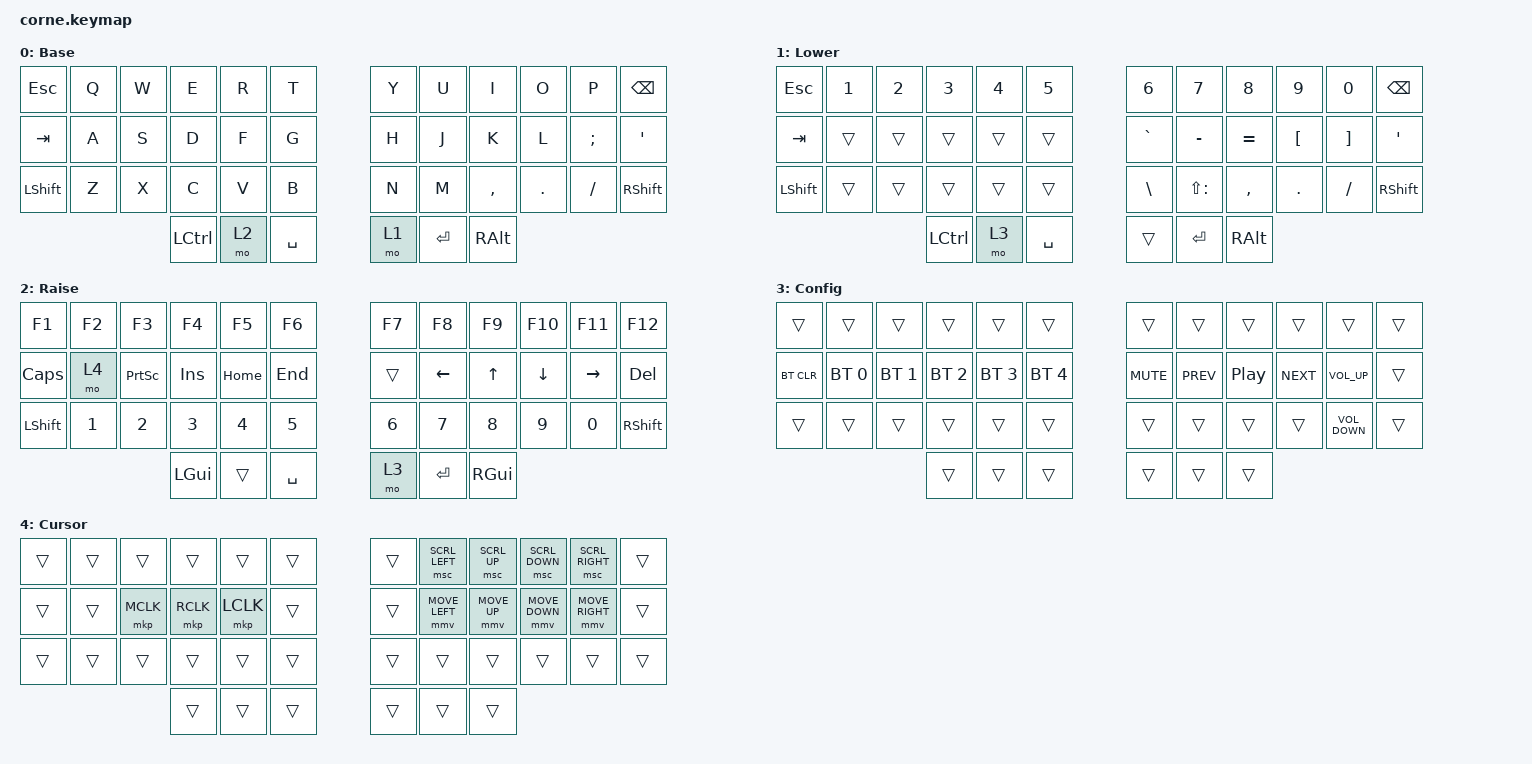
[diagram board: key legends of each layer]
/*
 * Copyright (c) 2020 The ZMK Contributors
 *
 * SPDX-License-Identifier: MIT
 */

#include <behaviors.dtsi>
#include <dt-bindings/zmk/bt.h>
#include <dt-bindings/zmk/keys.h>
#include <dt-bindings/zmk/pointing.h>
#include <dt-bindings/zmk/pointing.h>
#include <dt-bindings/zmk/pointing.h>

/ {
    keymap {
        compatible = "zmk,keymap";

        default_layer {
            // -----------------------------------------------------------------------------------------
            // |  TAB |  Q  |  W  |  E  |  R  |  T  |   |  Y  |  U   |  I  |  O  |  P  | BKSP |
            // | CTRL |  A  |  S  |  D  |  F  |  G  |   |  H  |  J   |  K  |  L  |  ;  |  '   |
            // | SHFT |  Z  |  X  |  C  |  V  |  B  |   |  N  |  M   |  ,  |  .  |  /  | ESC  |
            //                    | GUI | LWR | SPC |   | ENT | RSE  | ALT |

            display-name = "Base";
            bindings = <
&kp ESC    &kp Q  &kp W  &kp E      &kp R  &kp T        &kp Y  &kp U      &kp I      &kp O    &kp P     &kp BSPC
&kp TAB    &kp A  &kp S  &kp D      &kp F  &kp G        &kp H  &kp J      &kp K      &kp L    &kp SEMI  &kp SQT
&kp LSHFT  &kp Z  &kp X  &kp C      &kp V  &kp B        &kp N  &kp M      &kp COMMA  &kp DOT  &kp FSLH  &kp RIGHT_SHIFT
                         &kp LCTRL  &mo 2  &kp SPACE    &mo 1  &kp ENTER  &kp RALT
            >;

            label = "Default";
        };

        lower_layer {
            // -----------------------------------------------------------------------------------------
            // |  TAB |  1  |  2  |  3  |  4  |  5  |   |  6  |  7  |  8  |  9  |  0  | BKSP |
            // | BTCLR| BT1 | BT2 | BT3 | BT4 | BT5 |   | LFT | DWN |  UP | RGT |     |      |
            // | SHFT |     |     |     |     |     |   |     |     |     |     |     |      |
            //                    | GUI |     | SPC |   | ENT |     | ALT |

            display-name = "Lower";
            bindings = <
&kp ESC    &kp N1  &kp N2  &kp N3     &kp N4  &kp N5       &kp N6     &kp N7         &kp N8     &kp N9    &kp N0    &kp BSPC
&kp TAB    &trans  &trans  &trans     &trans  &trans       &kp GRAVE  &kp MINUS      &kp EQUAL  &kp LBKT  &kp RBKT  &kp SQT
&kp LSHFT  &trans  &trans  &trans     &trans  &trans       &kp BSLH   &kp LS(COLON)  &kp COMMA  &kp DOT   &kp FSLH  &kp RSHFT
                           &kp LCTRL  &mo 3   &kp SPACE    &trans     &kp ENTER      &kp RALT
            >;
        };

        raise_layer {
            // -----------------------------------------------------------------------------------------
            // |  TAB |  !  |  @  |  #  |  $  |  %  |   |  ^  |  &  |  *  |  (  |  )  | BKSP |
            // | CTRL |     |     |     |     |     |   |  -  |  =  |  [  |  ]  |  \  |  `   |
            // | SHFT |     |     |     |     |     |   |  _  |  +  |  {  |  }  | "|" |  ~   |
            //                    | GUI |     | SPC |   | ENT |     | ALT |

            display-name = "Raise";
            bindings = <
&kp F1        &kp F2  &kp F3           &kp F4    &kp F5    &kp F6       &kp F7  &kp F8     &kp F9    &kp F10   &kp F11    &kp F12
&kp CAPSLOCK  &mo 4   &kp PRINTSCREEN  &kp INS   &kp HOME  &kp END      &trans  &kp LEFT   &kp UP    &kp DOWN  &kp RIGHT  &kp DEL
&kp LSHFT     &kp N1  &kp N2           &kp N3    &kp N4    &kp N5       &kp N6  &kp N7     &kp N8    &kp N9    &kp N0     &kp RSHFT
                                       &kp LGUI  &trans    &kp SPACE    &mo 3   &kp ENTER  &kp RGUI
            >;
        };

        config_layer {
            bindings = <
&trans      &trans        &trans        &trans        &trans        &trans          &trans      &trans      &trans            &trans      &trans             &trans
&bt BT_CLR  &bt BT_SEL 0  &bt BT_SEL 1  &bt BT_SEL 2  &bt BT_SEL 3  &bt BT_SEL 4    &kp C_MUTE  &kp K_PREV  &kp C_PLAY_PAUSE  &kp C_NEXT  &kp C_VOLUME_UP    &trans
&trans      &trans        &trans        &trans        &trans        &trans          &trans      &trans      &trans            &trans      &kp C_VOLUME_DOWN  &trans
                                        &trans        &trans        &trans          &trans      &trans      &trans
            >;

            label = "Config";
        };

        cursor_layer {
            bindings = <
&trans  &trans  &trans     &trans     &trans     &trans    &trans  &msc SCRL_LEFT  &msc SCRL_UP  &msc SCRL_DOWN  &msc SCRL_RIGHT  &trans
&trans  &trans  &mkp MCLK  &mkp RCLK  &mkp LCLK  &trans    &trans  &mmv MOVE_LEFT  &mmv MOVE_UP  &mmv MOVE_DOWN  &mmv MOVE_RIGHT  &trans
&trans  &trans  &trans     &trans     &trans     &trans    &trans  &trans          &trans        &trans          &trans           &trans
                           &trans     &trans     &trans    &trans  &trans          &trans
            >;

            label = "Cursor";
        };
    };
};
